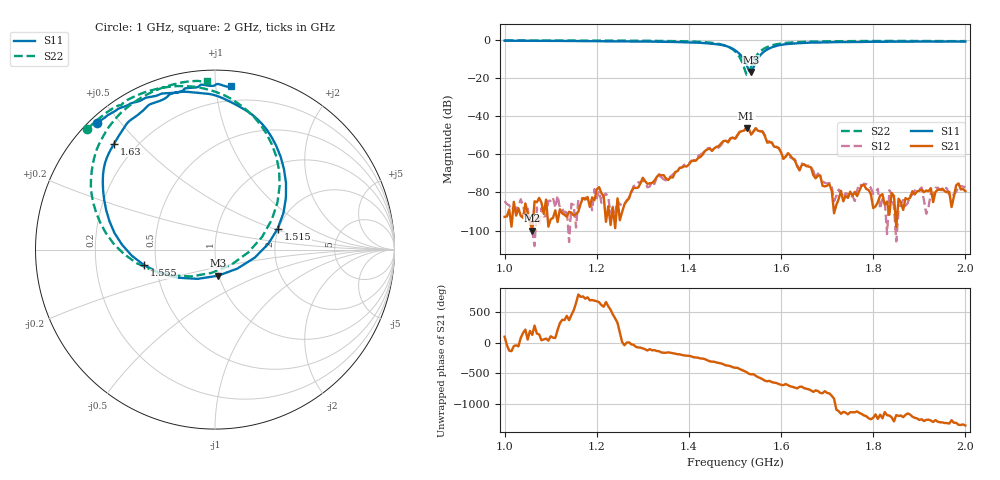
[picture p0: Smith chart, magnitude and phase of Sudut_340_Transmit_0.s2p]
# Hz S RI R 50
! CMT, C1220, 16058040, 17.2.0/1
! Date: 15/08/2018 09:07:54
! Data: Format (Calibration Info)
! Freq  S11: Re/Im (F2)  S21: Re/Im (F2)  S12: Re/Im (F2)  S22: Re/Im (F2)
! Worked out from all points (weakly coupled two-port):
!   201 points, 1 GHz to 2 GHz, reference 50 ohm
!   highest |S21| = -46.13 dB at 1.525 GHz (marker M1); lowest = -100.1 dB at 1.06 GHz (marker M2)
!   lowest |S11| = -16.7 dB at 1.535 GHz (marker M3), VSWR 1.34, Z = 49.6 - j14.8 ohm
!   |S11| at or under -10 dB: 1.519 GHz to 1.549 GHz (30.23 MHz wide, 1.97 % of centre)
!   |S22| runs from -18.2 to -0.2 dB; largest |S21 - S12| = 0.00021
!   S11 on the Smith chart (normalised r, x): 1 GHz: 0.02, +0.43; 1.515 GHz: 1.98, +0.54; 1.555 GHz: 0.43, -0.09; 1.63 GHz: 0.12, +0.42; 2 GHz: 0.10, +1.10
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1e9  -0.6576 0.7052  -4.93e-06 2.25e-05  -5.65e-05 1.92e-05  -0.7131 0.6694
1.06e9  -0.6006 0.7468  -6.66e-06 7.29e-06  8.99e-06 -3.04e-06  -0.6661 0.7139
1.17e9  -0.4765 0.8105  5.16e-05 4.96e-05  3.7e-05 5.69e-05  -0.5621 0.7915
1.27e9  -0.3377 0.8545  6.89e-05 1.28e-05  6.03e-05 -4.05e-05  -0.4447 0.8554
1.335e9  -0.2218 0.8742  -0.000212 -0.000208  -0.000233 -0.000143  -0.3303 0.894
1.355e9  -0.1827 0.8796  -0.000191 -9.37e-05  -0.000216 -9.73e-05  -0.2866 0.9029
1.45e9  0.1556 0.7857  0.000759 0.000976  0.000836 0.000935  0.0853 0.8423
1.5e9  0.3954 0.3731  0.00173 -0.0019  0.00166 -0.00178  0.3603 0.357
1.515e9  0.3496 0.1173  0.000262 -0.00408  0.000429 -0.00409  0.2621 0.0702
1.525e9  0.2211 -0.045  -0.00236 -0.00433  -0.00238 -0.0045  0.0893 -0.0853
1.535e9  0.0176 -0.1455  -0.00303 -0.00132  -0.00309 -0.00133  -0.1336 -0.1495
1.555e9  -0.395 -0.087  -0.00325 0.00241  -0.00335 0.00233  -0.5069 -0.0252
1.605e9  -0.6194 0.4519  0.000678 0.00035  0.000693 0.00035  -0.6815 0.4718
1.63e9  -0.5621 0.5906  0.000672 -0.000154  0.000729 -0.000113  -0.6388 0.6025
1.64e9  -0.5337 0.6373  0.000382 -6.31e-06  0.000372 -6.98e-05  -0.6172 0.6418
1.67e9  -0.4754 0.7179  3.22e-05 -0.000282  5.39e-05 -0.000364  -0.5552 0.7282
1.715e9  -0.376 0.7997  -2.74e-05 7.82e-06  -5.01e-05 3.26e-05  -0.4697 0.8075
1.78e9  -0.2585 0.8601  -5.41e-05 -0.000149  -6.92e-05 -0.000156  -0.3605 0.8733
1.835e9  -0.1735 0.8921  -9.44e-06 -2.44e-05  -0.000105 -4.38e-05  -0.2792 0.9062
1.975e9  0.0374 0.9169  -4.96e-05 5.97e-05  -5.67e-05 6.72e-05  -0.0719 0.9353
1.985e9  0.0612 0.9094  -1.92e-05 0.000172  -6.24e-05 0.000135  -0.0623 0.9358
2e9  0.0894 0.9087  8.68e-06 0.000108  5.04e-05 0.000129  -0.0444 0.9413
